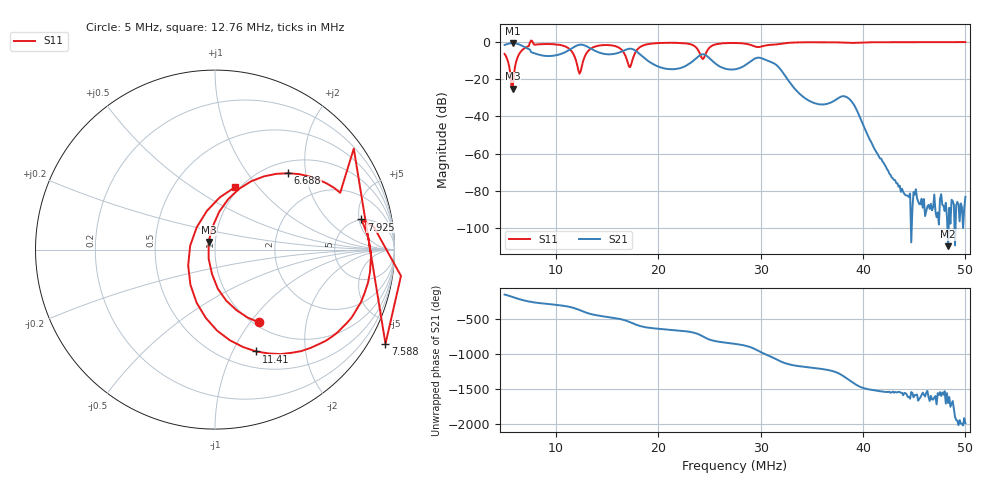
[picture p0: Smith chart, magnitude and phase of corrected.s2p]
! S11/S21 only; reverse parameters are placeholders. Device calibration unverified.
! [Saver CAL applied] C:\Users\aknya\MyProjects\rf-simulator\calibration2.cal | Ideal standards assumed | Input: NanoVNA F V2 profile | COM3 | 2026-09-08T12:17:39.9410808-04:00 | device calibration unverified
# HZ S RI R 50
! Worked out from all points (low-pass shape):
!   401 points, 5 MHz to 50 MHz, reference 50 ohm
!   highest |S21| = -0.69 dB at 5.787 MHz (marker M1); lowest = -109.5 dB at 48.31 MHz (marker M2)
!   |S21| within 3 dB of the highest: start of sweep to 7.27 MHz; 11.52 MHz to 13.43 MHz (1.911 MHz wide, 15.3 % of centre)
!   lowest |S11| = -25.1 dB at 5.787 MHz (marker M3), VSWR 1.12, Z = 46.4 + j3.98 ohm
!   |S11| at or under -10 dB: 5.294 MHz to 6.167 MHz (872.7 kHz wide, 15.2 % of centre); 11.97 MHz to 12.69 MHz (721.7 kHz wide, 5.85 % of centre); 16.96 MHz to 17.47 MHz (514 kHz wide, 2.99 % of centre)
!   S12 and S22 are empty: the file has one direction only
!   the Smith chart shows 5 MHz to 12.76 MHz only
!   S11 on the Smith chart (normalised r, x): 5 MHz: 1.06, -1.11; 6.688 MHz: 1.23, +1.60; 7.588 MHz: -0.64, -3.77; 7.925 MHz: 4.93, +5.37; 11.41 MHz: 0.68, -1.24; 12.76 MHz: 0.95, +0.76
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5000000  0.2463 -0.4061  -0.6539 -0.5021  0 0  0 0
5787500  -0.0355 0.0428  -0.9232 -0.0405  0 0  0 0
6687500  0.4069 0.4256  -0.6059 0.4997  0 0  0 0
7587500  0.9498 -0.525  -0.2117 0.486  0 0  0 0
7925000  0.8147 0.168  -0.1127 0.4782  0 0  0 0
1.14125e7  0.2295 -0.5675  0.4981 0.3827  0 0  0 0
1.25375e7  -0.0455 0.2153  0.7885 -0.2771  0 0  0 0
1.27625e7  0.1087 0.3461  0.6822 -0.4344  0 0  0 0
1.49e7  0.8065 -0.145  -0.0963 -0.4561  0 0  0 0
1.63625e7  0.3362 -0.5386  -0.3953 -0.3633  0 0  0 0
1.715e7  -0.2004 -0.083  -0.6455 -0.067  0 0  0 0
1.805e7  0.3665 0.5443  -0.343 0.371  0 0  0 0
2.0075e7  0.9222 0.0505  0.0219 0.2118  0 0  0 0
2.42375e7  0.3053 -0.2177  0.4419 -0.1212  0 0  0 0
2.75e7  0.8314 -0.4117  -0.1231 -0.136  0 0  0 0
2.94125e7  0.6012 -0.4553  -0.3199 0.1474  0 0  0 0
3.11e7  0.723 -0.4074  0.2235 0.1692  0 0  0 0
3.50375e7  0.7038 -0.668  -0.0106 -0.0216  0 0  0 0
3.86375e7  0.5444 -0.7705  0.0111 0.0277  0 0  0 0
4.2575e7  0.4407 -0.8712  -4.56e-05 -0.00029  0 0  0 0
4.83125e7  0.2239 -0.9545  -3.58e-07 3.34e-06  0 0  0 0
5e7  0.1575 -0.9683  -6.87e-05 1.43e-05  0 0  0 0
